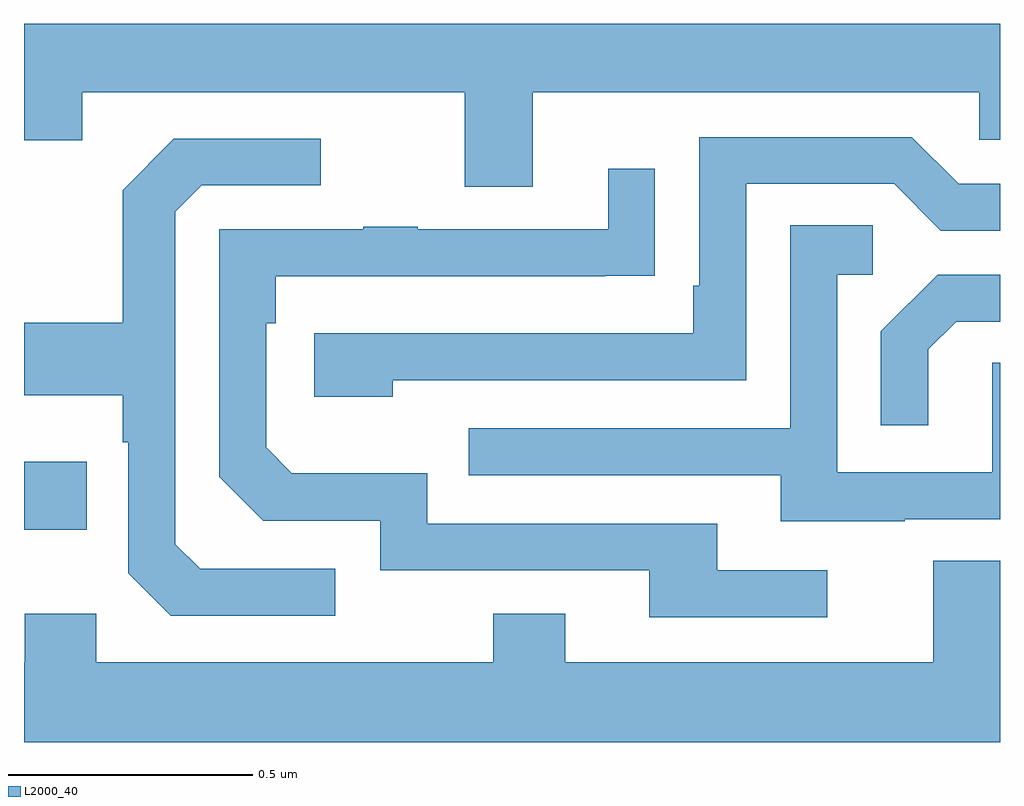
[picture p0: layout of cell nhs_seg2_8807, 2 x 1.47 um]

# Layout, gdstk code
import gdstk
lib = gdstk.Library(unit=1e-6, precision=1e-09)
def R(c, l, rs):  # rectangles x0, y0, x1, y1
    for r in rs: c.add(gdstk.rectangle(r[:2], r[2:], *l))
def P(c, l, *ps):  # polygons
    for p in ps: c.add(gdstk.Polygon(p, *l))
L2000_40 = (2000, 40)

nhs_seg2_8807 = lib.new_cell('nhs_seg2_8807')
R(nhs_seg2_8807, L2000_40, [(221,622.763,221.129,622.903)])
P(nhs_seg2_8807, L2000_40, [(222.043,623.66),(222.957,623.66),(222.957,623.562),(223,623.562),(223,623.8),(221,623.8),(221,623.561),(221.119,623.561),(221.119,623.66),(221.903,623.66),(221.903,623.466),(222.043,623.466)],
  [(221.756,623.07),(222.48,623.07),(222.48,623.472),(222.783,623.472),(222.879,623.376),(223,623.376),(223,623.472),(222.915,623.472),(222.819,623.568),(222.384,623.568),(222.384,623.263),(222.371,623.263),(222.371,623.166),(221.595,623.166),(221.595,623.036),(221.756,623.036)],
  [(221.638,622.683),(221.361,622.683),(221.31,622.734),(221.31,623.415),(221.364,623.469),(221.608,623.469),(221.608,623.565),(221.307,623.565),(221.202,623.459),(221.202,623.187),(221,623.187),(221,623.039),(221.202,623.039),(221.202,622.943),(221.214,622.943),(221.214,622.674),(221.301,622.587),(221.638,622.587)],
  [(222.646,622.68),(222.421,622.68),(222.421,622.776),(221.826,622.776),(221.826,622.879),(221.549,622.879),(221.496,622.932),(221.496,623.186),(221.516,623.186),(221.516,623.283),(222.191,623.283),(222.191,623.284),(222.293,623.284),(222.293,623.503),(222.197,623.503),(222.197,623.379),(221.807,623.379),(221.807,623.384),(221.695,623.384),(221.695,623.379),(221.4,623.379),(221.4,622.872),(221.49,622.782),(221.73,622.782),(221.73,622.68),(222.281,622.68),(222.281,622.584),(222.646,622.584)],
  [(222.805,622.785),(223,622.785),(223,623.105),(222.984,623.105),(222.984,622.881),(222.666,622.881),(222.666,623.286),(222.739,623.286),(222.739,623.387),(222.57,623.387),(222.57,622.971),(221.911,622.971),(221.911,622.875),(222.551,622.875),(222.551,622.781),(222.805,622.781)],
  [(222.853,623.133),(222.91,623.19),(223,623.19),(223,623.286),(222.872,623.286),(222.756,623.17),(222.756,622.977),(222.853,622.977)],
  [(223,622.7),(222.863,622.7),(222.863,622.492),(222.109,622.492),(222.109,622.591),(221.962,622.591),(221.962,622.492),(221.148,622.492),(221.148,622.591),(221.002,622.591),(221.002,622.492),(221,622.492),(221,622.328),(223,622.328)])

lib.write_gds('nhs_seg2_8807.gds')
